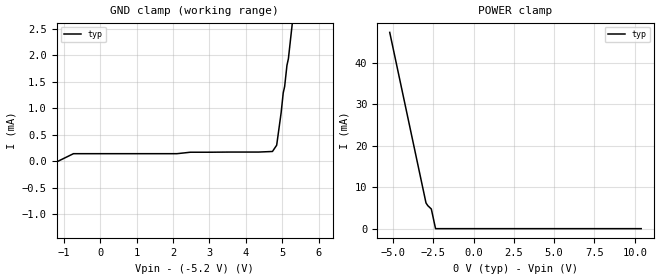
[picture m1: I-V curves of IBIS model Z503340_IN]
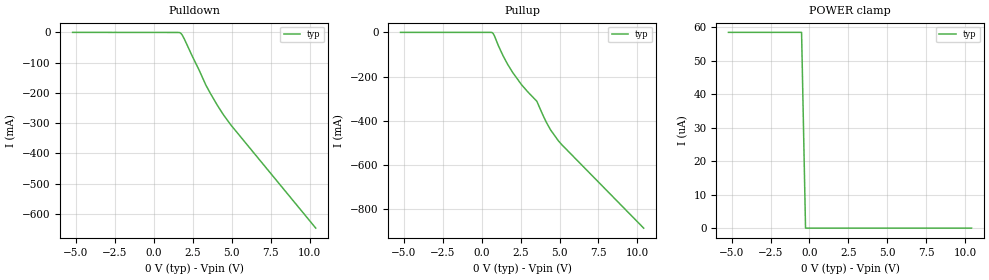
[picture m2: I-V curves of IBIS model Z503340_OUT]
| YOU ARE ONLY AUTHORIZED TO USE THIS SOFTWARE
| ACCORDING TO LICENSOR'S LICENSE RESTRICTIONS.
[IBIS Ver] 3.1
[File Name] mc10102l.ibs
[File Rev] 2.0
[Source] Measured and created by ICX Technology
[Date] Friday 7/14/00 9:07:46 AM
[Copyright]
| (C) COPYRIGHT 1993-2000
| MENTOR GRAPHICS CORPORATION
| ICX STANDARD LIBRARY, ICX PROJECT MODELING,
| ICX CUSTOM MODELING, ICX VENDOR MODEL
| ALL RIGHTS RESERVED.
| THE FOLLOWING ARE TRADEMARKS OR SERVICE MARKS OF
| MENTOR GRAPHICS CORPORATION:ICX (R), ICX STANDARD
| LIBRARY(R), ICX PROJECT MODELING(R), ICX CUSTOM
| MODELING(R), qualityIBIS(TM), MODELVIEWER(TM),
| AND MODELEDITOR(TM)
| ALL COPIES OF SOFTWARE, INCLUDING BUT NOT LIMITED TO
| ANY MODIFICATIONS, ENHANCEMENTS OR DERIVATIVE WORKS,
| MUST CONTAIN ALL MENTOR GRAPHICS CORPORATION'S
| NOTICES AND LEGENDS, INCLUDING THOSE EMBEDDED IN
| SOFTWARE AND THOSE AFFIXED TO SOFTWARE MEDIUM
| AND CONTAINER, AS RECEIVED FROM MENTOR GRAPHICS
| CORPORATION.
|  ZAP Model Builder 2.7
[Component] MC10102L
[Manufacturer] OnSemiconductor
[Package]
| variable   typ   min   max
R_pkg  .212ohms NA NA
L_pkg  4.758nH NA NA
C_pkg  1.944pF NA NA
[Pin] signal_name  model_name  R_pin  L_pin C_pin
1 VCC1 POWER .224 7.258n 2.683p
2 AOUT Z503340_OUT .216 5.258n 2.19p
3 BOUT Z503340_OUT .208 3.758n 1.697p
4 AIN Z503340_IN .2 2.758n 1.204p
5 AIN Z503340_IN .2 2.758n 1.204p
6 BIN Z503340_IN .208 3.758n 1.697p
7 BIN Z503340_IN .216 5.258n 2.19p
8 VEE POWER .224 7.258n 2.683p
9 DOUT Z503340_OUT .224 7.258n 2.683p
10 CIN Z503340_IN .216 5.258n 2.19p
11 CIN Z503340_IN .208 3.758n 1.697p
12 DIN Z503340_IN .2 2.758n 1.204p
13 DIN Z503340_IN .2 2.758n 1.204p
14 COUT Z503340_OUT .208 3.758n 1.697p
15 _DOUT Z503340_OUT .216 5.258n 2.19p
16 VCC2 POWER .224 7.258n 2.683p
| Models and submodels in the file (2): Z503340_IN (Input_ECL), Z503340_OUT (Output_ECL)
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| (C) COPYRIGHT 1993-2000
| MENTOR GRAPHICS CORPORATION
| ICX STANDARD LIBRARY, ICX PROJECT MODELING,
| ICX CUSTOM MODELING, ICX VENDOR MODEL
| ALL RIGHTS RESERVED.
| THE FOLLOWING ARE TRADEMARKS OR SERVICE MARKS OF
| MENTOR GRAPHICS CORPORATION:ICX (R), ICX STANDARD
| LIBRARY(R), ICX PROJECT MODELING(R), ICX CUSTOM
| MODELING(R), qualityIBIS(TM), MODELVIEWER(TM),
| AND MODELEDITOR(TM)
| ALL COPIES OF SOFTWARE, INCLUDING BUT NOT LIMITED TO
| ANY MODIFICATIONS, ENHANCEMENTS OR DERIVATIVE WORKS,
| MUST CONTAIN ALL MENTOR GRAPHICS CORPORATION'S
| NOTICES AND LEGENDS, INCLUDING THOSE EMBEDDED IN
| SOFTWARE AND THOSE AFFIXED TO SOFTWARE MEDIUM
| AND CONTAINER, AS RECEIVED FROM MENTOR GRAPHICS
| CORPORATION.
| Model Application Version 1.89 2/18/99.
[Model] Z503340_IN
Model_type Input_ECL
Vinl = -1.475V
Vinh = -1.105V
C_comp 4.000pF NA NA
| variable typ   min   max
[Voltage Range] -5.200V NA NA
[GND Clamp Reference] -5.200V NA NA
[POWER Clamp Reference] 0.000V NA NA
[GND Clamp]
-5.2V     -1.353mA   NA         NA
-735mV    144.7uA    NA         NA
2.11V     144.7uA    NA         NA
2.48V     172.3uA    NA         NA
4.733V    186.2uA    NA         NA
4.849V    304.8uA    NA         NA
4.971V    913.8uA    NA         NA
5.029V    1.291mA    NA         NA
5.068V    1.411mA    NA         NA
5.131V    1.809mA    NA         NA
5.171V    1.935mA    NA         NA
10.4V     34.45mA    NA         NA
[POWER Clamp]
-5.2V     47.35mA    NA         NA
-2.95V    6.21mA     NA         NA
-2.837V   5.543mA    NA         NA
-2.619V   4.738mA    NA         NA
-2.357V   0A         NA         NA
10.4V     0A         NA         NA
| (C) COPYRIGHT 1993-2000
| MENTOR GRAPHICS CORPORATION
| ICX STANDARD LIBRARY, ICX PROJECT MODELING,
| ICX CUSTOM MODELING, ICX VENDOR MODEL
| ALL RIGHTS RESERVED.
| THE FOLLOWING ARE TRADEMARKS OR SERVICE MARKS OF
| MENTOR GRAPHICS CORPORATION:ICX (R), ICX STANDARD
| LIBRARY(R), ICX PROJECT MODELING(R), ICX CUSTOM
| MODELING(R), qualityIBIS(TM), MODELVIEWER(TM),
| AND MODELEDITOR(TM)
| ALL COPIES OF SOFTWARE, INCLUDING BUT NOT LIMITED TO
| ANY MODIFICATIONS, ENHANCEMENTS OR DERIVATIVE WORKS,
| MUST CONTAIN ALL MENTOR GRAPHICS CORPORATION'S
| NOTICES AND LEGENDS, INCLUDING THOSE EMBEDDED IN
| SOFTWARE AND THOSE AFFIXED TO SOFTWARE MEDIUM
| AND CONTAINER, AS RECEIVED FROM MENTOR GRAPHICS
| CORPORATION.
| Model Application Version 1.89 2/18/99.
[Model] Z503340_OUT
Model_type Output_ECL
Vref=-2.000V
Rref=50.00ohms
Cref=0.000F
Vmeas=-1.290V
C_comp 8.000pF NA NA
| variable typ   min   max
[Voltage Range] -5.200V NA NA
[POWER Clamp Reference] 0.000V NA NA
[Pullup Reference] 0.000V NA NA
[Pulldown Reference] 0.000V NA NA
[GND Clamp Reference] -5.200V NA NA
[GND Clamp]
-5.2V     0A         NA         NA
10.4V     0A         NA         NA
[Pulldown]
-5.2V     331.2uA    NA         NA
1.567V    11.17uA    NA         NA
1.739V    -2.388mA   NA         NA
1.963V    -21.14mA   NA         NA
2.91V     -123.6mA   NA         NA
3.351V    -174.2mA   NA         NA
4.079V    -240.2mA   NA         NA
4.463V    -271.2mA   NA         NA
4.942V    -305.2mA   NA         NA
10.4V     -647.1mA   NA         NA
[Pullup]
-5.2V     62.49uA    NA         NA
570.8mV   43.04uA    NA         NA
727.5mV   -3.303mA   NA         NA
1.388V    -107.2mA   NA         NA
1.67V     -144.1mA   NA         NA
1.987V    -180.6mA   NA         NA
2.564V    -236.8mA   NA         NA
3.545V    -311.7mA   NA         NA
4.157V    -407.1mA   NA         NA
4.436V    -442.3mA   NA         NA
4.923V    -490.2mA   NA         NA
10.4V     -886mA     NA         NA
[POWER Clamp]
-5.2V     58.51uA    NA         NA
-507.8mV  58.51uA    NA         NA
-253.9mV  0A         NA         NA
10.4V     0A         NA         NA
[Ramp]
| variable typ min max
dV/dt_r 584.3m/1.517n NA NA
dV/dt_f 584.3m/1.643n NA NA
R_load = 500.0Ohms
